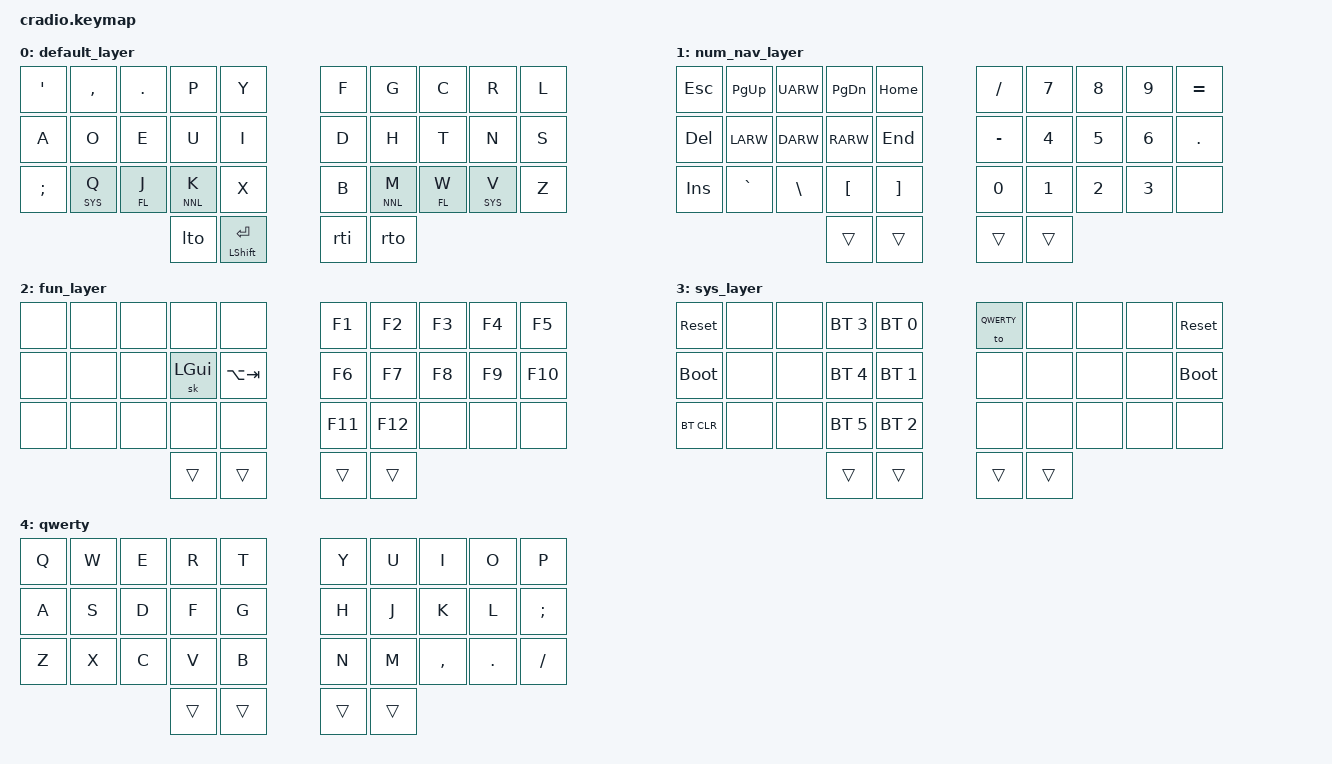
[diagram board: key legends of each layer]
// Copyright (c) 2022 The ZMK Contributors
// SPDX-License-Identifier: MIT

#include <behaviors.dtsi>
#include <dt-bindings/zmk/keys.h>
#include <dt-bindings/zmk/bt.h>

#define DEFAULT 0
#define NNL     1
#define FL      2
#define SYS     3
#define QWERTY  4

&sl {
    /delete-property/ quick-release;
};

/ {
    behaviors {
        lto: left_thumb_outer {
            compatible = "zmk,behavior-tap-dance";
            label = "LEFT_THUMB_OUTER";
            #binding-cells = <0>;
            tapping-term-ms = <200>;
            bindings = <&mt LCTRL TAB>, <&to FL>;
        };
        rto: right_thumb_outer {
            compatible = "zmk,behavior-tap-dance";
            label = "RIGHT_THUMB_OUTER";
            #binding-cells = <0>;
            tapping-term-ms = <200>;
            bindings = <&kp BSPC>, <&to NNL>;
        };
        rti: right_thumb_inner {
            compatible = "zmk,behavior-tap-dance";
            label = "RIGHT_THUMB_INNER";
            #binding-cells = <0>;
            tapping-term-ms = <200>;
            bindings = <&mt LALT SPACE>, <&to DEFAULT>;
        };

        lk: layer_key {
            compatible = "zmk,behavior-hold-tap";
            label = "LAYER_KEY";
            #binding-cells = <2>;
            flavor = "hold-preferred";
            tapping-term-ms = <200>;
            bindings = <&mo>, <&kp>;
        };
    };

    keymap {
        compatible = "zmk,keymap";
        default_layer {
            bindings = <
        //╭──────────┬──────────┬──────────┬──────────┬──────────╮   ╭──────────┬──────────┬──────────┬──────────┬──────────╮
        //│  ' "     │  , <     │  .>      │  P       │  Y       │   │  F       │  G       │  C       │  R       │  L       │
            &kp SQT    &kp COMMA  &kp DOT    &kp P      &kp Y          &kp F      &kp G      &kp C      &kp R      &kp L 
        //├──────────┼──────────┼──────────┼──────────┼──────────┤   ├──────────┼──────────┼──────────┼──────────┼──────────┤
        //│  A       │  O       │  E       │  U       │  I       │   │  D       │  H       │  T       │  N       │ S        │
            &kp A      &kp O      &kp E      &kp U      &kp I          &kp D      &kp H      &kp T      &kp N      &kp S
        //├──────────┼──────────┼──────────┼──────────┼──────────┤   ├──────────┼──────────┼──────────┼──────────┼──────────┤
        //│  ; :     │  Q       │  J       │  K       │  X       │   │  B       │  M       │ W        │ V        │ Z        │
            &kp SEMI   &lk SYS Q  &lk FL J   &lk NNL K  &kp X          &kp B     &lk NNL M   &lk FL W   &lk SYS V  &kp Z
        //╰──────────┴──────────┴──────────┼──────────┼──────────┤   ├──────────┼──────────┼──────────┴──────────┴──────────╯
        //                                 |SHFT ENTE |CTR TAB L1|   | BKSPC L2 | ALT SPACE|
                                             &lto    &mt LSHFT ENTER   &rti       &rto 
        //                                 ╰──────────┴──────────╯   ╰──────────┴──────────╯
            >;
        };

        num_nav_layer {
            bindings = <
        //╭──────────┬──────────┬──────────┬──────────┬──────────╮   ╭──────────┬──────────┬──────────┬──────────┬──────────╮
        //│ ESCAPE   │ PAGE UP  │ UP       │ PAGE DN  │ HOME     │   │ / ?      │ 7 &      │ 8 *      │ 9 (      │ = +      │
            &kp ESC    &kp PG_UP  &kp UARW   &kp PG_DN  &kp HOME       &kp FSLH   &kp N7     &kp N8     &kp N9     &kp EQUAL 
        //├──────────┼──────────┼──────────┼──────────┼──────────┤   ┼──────────┼──────────┼──────────┼──────────┼──────────┤
        //│ DELETE   │ LEFT     │ DOWN     │ RIGHT    │ END      │   │ - _      │ 4 $      │ 5 %      │ 6 ^      │ . >      │
            &kp DEL    &kp LARW   &kp DARW   &kp RARW   &kp END        &kp MINUS  &kp N4     &kp N5     &kp N6     &kp DOT  
        //├──────────┼──────────┼──────────┼──────────┼──────────┤   ┼──────────┼──────────┼──────────┼──────────┼──────────┤
        //│ INSERT   │ ` ~      │ \ |      │ [ {      │ ] }      │   │ 0 )      │ 1 !      │ 2 @      │ 3 #      │          │
            &kp INS    &kp GRAVE  &kp BSLH   &kp LBKT   &kp RBKT       &kp N0     &kp N1     &kp N2     &kp N3     &none        
        //╰──────────┴──────────┴──────────┼──────────┼──────────┤   ├──────────┼──────────┼──────────┴──────────┴──────────╯
        //                                 |          |          |   |          |          |
                                             &trans     &trans         &trans     &trans   
        //                                 ╰──────────┴──────────╯   ╰──────────┴──────────╯
            >;
        };

        fun_layer {
            bindings = <
        //╭──────────┬──────────┬──────────┬──────────┬──────────╮   ╭──────────┬──────────┬──────────┬──────────┬──────────╮
        //│          │          │          │          │          │   │ F1       │ F2       │ F3       │ F4       │ F5       │
            &none      &none      &none      &none      &none          &kp F1     &kp F2     &kp F3     &kp F4     &kp F5   
        //├──────────┼──────────┼──────────┼──────────┼──────────┤   ├──────────┼──────────┼──────────┼──────────┼──────────┤
        //│          │          │          │ stky gui │ WIN SWTCH│   │ F6       │ F7       │ F8       │ F9       │ F10      │
            &none      &none      &none      &sk LGUI &kp LA(TAB)      &kp F6     &kp F7     &kp F8     &kp F9     &kp F10   
        //├──────────┼──────────┼──────────┼──────────┼──────────┤   ├──────────┼──────────┼──────────┼──────────┼──────────┤
        //│          │          │          │          │          │   │ F11      │ F12      │          │          │          │
            &none      &none      &none      &none      &none          &kp F11    &kp F12    &none      &none      &none 
        //╰──────────┴──────────┴──────────┼──────────┼──────────┤   ├──────────┼──────────┼──────────┴──────────┴──────────╯
        //                                 |          |          |   |          |          |
                                             &trans     &trans         &trans     &trans 
        //                                 ╰──────────┴──────────╯   ╰──────────┴──────────╯
            >;
        };

        sys_layer {
            bindings = <
        //╭──────────┬──────────┬──────────┬────────────┬────────────╮   ╭──────────┬──────────┬──────────┬──────────┬──────────╮
        //│ RESET    │          │          │ PROFILE 3  │ PROFILE 0  │   │          │          │          │          │  RESET   │
           &sys_reset  &none      &none     &bt BT_SEL 3 &bt BT_SEL 0     &to QWERTY  &none      &none      &none     &sys_reset
        //├──────────┼──────────┼──────────┼────────────┤────────────┤   ├──────────┼──────────┼──────────┼──────────┼──────────┤
        //│BOOTLOADER│          │          │ PROFILE 4  │ PROFILE 1  │   │          │          │          │          │BOOTLOADER│
          &bootloader  &none      &none     &bt BT_SEL 4 &bt BT_SEL 1     &none       &none      &none      &none     &bootloader
        //├──────────┼──────────┼──────────┼────────────┤────────────┤   ├──────────┼──────────┼──────────┼──────────┼──────────┤
        //│ CLEAR BT │          │          │ PROFILE 5  │ PROFILE 2  │   │          │          │          │          │          │
           &bt BT_CLR  &none      &none     &bt BT_SEL 5 &bt BT_SEL 2     &none       &none      &none      &none      &none 
        //╰──────────┴──────────┴──────────┼────────────┼────────────┤   ├──────────┼──────────┼──────────┴──────────┴──────────╯
        //                                 |            |            |   |          |          |
                                             &trans       &trans          &trans      &trans 
        //                                 ╰────────────┴────────────╯   ╰──────────┴──────────╯
            >;
        };

        qwerty {
            bindings = <
        //╭──────────┬──────────┬──────────┬──────────┬──────────╮   ╭──────────┬──────────┬──────────┬──────────┬──────────╮
        //│ Q        │ W        │ E        │ R        │ T        │   │ Y        │ U        │ I        │ O        │ P        │
            &kp Q      &kp W      &kp E      &kp R      &kp T          &kp Y      &kp U      &kp I      &kp O      &kp P    
        //├──────────┼──────────┼──────────┼──────────┼──────────┤   ├──────────┼──────────┼──────────┼──────────┼──────────┤
        //│ A        │ S        │ D        │ F        │ G        │   │ H        │ J        │ K        │ L        │  ; :     │
            &kp A      &kp S      &kp D      &kp F      &kp G          &kp H      &kp J      &kp K      &kp L      &kp SEMI  
        //├──────────┼──────────┼──────────┼──────────┼──────────┤   ├──────────┼──────────┼──────────┼──────────┼──────────┤
        //│ Z        │ X        │ C        │ V        │ B        │   │ N        │ M        │  , <     │  .>      │ / ?      │
            &kp Z      &kp X      &kp C      &kp V      &kp B          &kp N      &kp M      &kp COMMA  &kp DOT    &kp FSLH   
        //╰──────────┴──────────┴──────────┼──────────┼──────────┤   ├──────────┼──────────┼──────────┴──────────┴──────────╯
        //                                 |          |          |   |          |          |
                                             &trans     &trans         &trans     &trans 
        //                                 ╰──────────┴──────────╯   ╰──────────┴──────────╯

            >;
        };
    };
};
